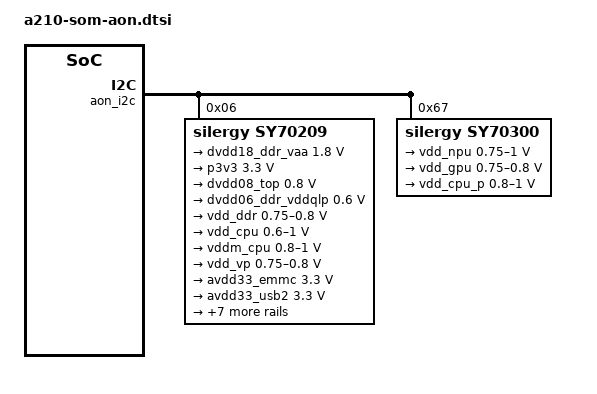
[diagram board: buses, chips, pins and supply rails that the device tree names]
/* SPDX-License-Identifier: Apache-2.0 */
#include <zephyr/dt-bindings/regulator/sy70209.h>
/ {
	zephyr,user {
		performance-domains = <&cpu_c908 &cpu_c920>;
		read-only-voltage-domains = <&vdd_cpu &vddm_cpu &vdd_cpu_p>;
		/* Preserve IDs 0..6; append the fixed peripheral and DDR I/O rails. */
		voltage-domains = <&vdd_cpu &vddm_cpu &vdd_cpu_p
			&vdd_ddr &vdd_vp &vdd_npu &vdd_gpu
			&avdd33_emmc &avdd33_usb2 &dvdd08_aon
			&avdd18_aon &avdd18_emmc_usb2 &avdd18_emmc_peri
			&avdd18_top &avdd18_pll &avdd18
			&dvdd18_ddr_vaa &p3v3 &dvdd08_top
			&dvdd06_ddr_vddqlp>;
	};

	c908_opps: c908-opps {
		compatible = "operating-points-v2";
		opp-shared;

		opp-500000000 {
			opp-hz = <0 500000000>;
			opp-microvolt = <700000 800000>;
		};

		opp-1200000000 {
			opp-hz = <0 1200000000>;
			opp-microvolt = <700000 800000>;
		};

		opp-1500000000 {
			opp-hz = <0 1500000000>;
			opp-microvolt = <800000 800000>;
		};

		opp-1698000000 {
			opp-hz = <0 1698000000>;
			opp-microvolt = <900000 900000>;
		};

		opp-1896000000 {
			opp-hz = <0 1896000000>;
			opp-microvolt = <1000000 1000000>;
		};
	};

	c920_opps: c920-opps {
		compatible = "operating-points-v2";
		opp-shared;

		opp-500000000 {
			opp-hz = <0 500000000>;
			opp-microvolt = <800000>;
		};

		opp-1698000000 {
			opp-hz = <0 1698000000>;
			opp-microvolt = <900000>;
		};

		opp-1896000000 {
			opp-hz = <0 1896000000>;
			opp-microvolt = <1000000>;
		};
	};
};

&aon_i2c {
	status = "okay";
	sy70209: pmic@6 {
		compatible = "silergy,sy70209";
		reg = <0x06>;
		timeout-counter = <&aon_timebase>;
		sy70209_gpio: gpio {
			compatible = "silergy,sy70209-gpio";
			gpio-controller;
			#gpio-cells = <2>;
		};
		regulators {
			#address-cells = <1>;
			#size-cells = <0>;

			dvdd18_ddr_vaa: regulator@1 {
				compatible = "silergy,sy70209-regulator";
				reg = <SY70209_BUCK(1)>;
				regulator-name = "dvdd18_ddr_vaa";
				regulator-min-microvolt = <1800000>;
				regulator-max-microvolt = <1800000>;
				regulator-ramp-delay = <100>;
				settling-time-us = <2000>;
				regulator-always-on;
			};

			p3v3: regulator@2 {
				compatible = "silergy,sy70209-regulator";
				reg = <SY70209_BUCK(2)>;
				regulator-name = "p3v3";
				regulator-min-microvolt = <3300000>;
				regulator-max-microvolt = <3300000>;
				regulator-ramp-delay = <100>;
				settling-time-us = <2000>;
				regulator-always-on;
			};

			dvdd08_top: regulator@3 {
				compatible = "silergy,sy70209-regulator";
				reg = <SY70209_BUCK(3)>;
				regulator-name = "dvdd08_top";
				regulator-min-microvolt = <800000>;
				regulator-max-microvolt = <800000>;
				regulator-ramp-delay = <100>;
				settling-time-us = <2000>;
				regulator-always-on;
			};

			dvdd06_ddr_vddqlp: regulator@4 {
				compatible = "silergy,sy70209-regulator";
				reg = <SY70209_BUCK(4)>;
				regulator-name = "ddr_vddqlp";
				regulator-min-microvolt = <600000>;
				regulator-max-microvolt = <600000>;
				regulator-ramp-delay = <100>;
				settling-time-us = <2000>;
				regulator-always-on;
			};

			vdd_ddr: regulator@5 {
				compatible = "silergy,sy70209-regulator";
				reg = <5>;
				regulator-name = "dvdd08_ddr";
				regulator-min-microvolt = <750000>;
				regulator-max-microvolt = <800000>;
				regulator-ramp-delay = <100>;
				settling-time-us = <2000>;
				regulator-always-on;
			};

			vdd_cpu: regulator@6 {
				compatible = "silergy,sy70209-regulator";
				reg = <6>;
				regulator-name = "dvdd_cpu";
				regulator-min-microvolt = <600000>;
				regulator-max-microvolt = <1000000>;
				regulator-ramp-delay = <100>;
				settling-time-us = <2000>;
				regulator-always-on;
			};

			vddm_cpu: regulator@7 {
				compatible = "silergy,sy70209-regulator";
				reg = <7>;
				regulator-name = "dvddm_cpu";
				regulator-min-microvolt = <800000>;
				regulator-max-microvolt = <1000000>;
				regulator-ramp-delay = <100>;
				settling-time-us = <2000>;
				regulator-always-on;
			};

			vdd_vp: regulator@8 {
				compatible = "silergy,sy70209-regulator";
				reg = <8>;
				regulator-name = "dvdd_vp";
				regulator-min-microvolt = <750000>;
				regulator-max-microvolt = <800000>;
				regulator-ramp-delay = <100>;
				settling-time-us = <2000>;
			};

			avdd33_emmc: regulator@11 {
				compatible = "silergy,sy70209-regulator";
				reg = <SY70209_LDO(1)>;
				regulator-name = "avdd33_emmc";
				regulator-min-microvolt = <3300000>;
				regulator-max-microvolt = <3300000>;
				regulator-ramp-delay = <100>;
				settling-time-us = <2000>;
				regulator-always-on;
			};

			avdd33_usb2: regulator@12 {
				compatible = "silergy,sy70209-regulator";
				reg = <SY70209_LDO(2)>;
				regulator-name = "avdd33_usb2";
				regulator-min-microvolt = <3300000>;
				regulator-max-microvolt = <3300000>;
				regulator-ramp-delay = <100>;
				settling-time-us = <2000>;
				regulator-always-on;
			};

			dvdd08_aon: regulator@13 {
				compatible = "silergy,sy70209-regulator";
				reg = <SY70209_LDO(3)>;
				regulator-name = "dvdd08_aon";
				regulator-min-microvolt = <800000>;
				regulator-max-microvolt = <800000>;
				regulator-ramp-delay = <100>;
				settling-time-us = <2000>;
				regulator-always-on;
			};

			avdd18_aon: regulator@14 {
				compatible = "silergy,sy70209-regulator";
				reg = <SY70209_LDO(4)>;
				regulator-name = "avdd18_aon";
				regulator-min-microvolt = <1800000>;
				regulator-max-microvolt = <1800000>;
				regulator-ramp-delay = <100>;
				settling-time-us = <2000>;
				regulator-always-on;
			};

			avdd18_emmc_usb2: regulator@15 {
				compatible = "silergy,sy70209-regulator";
				reg = <SY70209_LDO(5)>;
				regulator-name = "avdd18_emmcusb";
				regulator-min-microvolt = <1800000>;
				regulator-max-microvolt = <1800000>;
				regulator-ramp-delay = <100>;
				settling-time-us = <2000>;
				regulator-always-on;
			};

			avdd18_emmc_peri: regulator@17 {
				compatible = "silergy,sy70209-regulator";
				reg = <SY70209_LDO(7)>;
				regulator-name = "avdd18_peri";
				regulator-min-microvolt = <1800000>;
				regulator-max-microvolt = <1800000>;
				regulator-ramp-delay = <100>;
				settling-time-us = <2000>;
				regulator-always-on;
			};

			avdd18_top: regulator@18 {
				compatible = "silergy,sy70209-regulator";
				reg = <SY70209_LDO(8)>;
				regulator-name = "avdd18_top";
				regulator-min-microvolt = <1800000>;
				regulator-max-microvolt = <1800000>;
				regulator-ramp-delay = <100>;
				settling-time-us = <2000>;
				regulator-always-on;
			};

			avdd18_pll: regulator@19 {
				compatible = "silergy,sy70209-regulator";
				reg = <SY70209_LDO(9)>;
				regulator-name = "avdd18_pll";
				regulator-min-microvolt = <1800000>;
				regulator-max-microvolt = <1800000>;
				regulator-ramp-delay = <100>;
				settling-time-us = <2000>;
				regulator-always-on;
			};

			avdd18: regulator@1a {
				compatible = "silergy,sy70209-regulator";
				reg = <SY70209_LDO(10)>;
				regulator-name = "avdd18";
				regulator-min-microvolt = <1800000>;
				regulator-max-microvolt = <1800000>;
				regulator-ramp-delay = <100>;
				settling-time-us = <2000>;
				regulator-always-on;
			};
		};
	};
	sy70300: pmic@67 {
		compatible = "silergy,sy70300";
		reg = <0x67>;
		timeout-counter = <&aon_timebase>;
		regulators {
			#address-cells = <1>;
			#size-cells = <0>;

			vdd_npu: regulator@1 {
				compatible = "silergy,sy70300-regulator";
				reg = <1>;
				regulator-name = "dvdd_npu_vip";
				regulator-min-microvolt = <750000>;
				regulator-max-microvolt = <1000000>;
				regulator-ramp-delay = <100>;
				settling-time-us = <2000>;
				enable-gpios = <&sy70209_gpio 2 GPIO_ACTIVE_HIGH>;
			};

			vdd_gpu: regulator@3 {
				compatible = "silergy,sy70300-regulator";
				reg = <3>;
				regulator-name = "dvdd_gpu";
				regulator-min-microvolt = <750000>;
				regulator-max-microvolt = <800000>;
				regulator-ramp-delay = <100>;
				settling-time-us = <2000>;
				enable-gpios = <&sy70209_gpio 2 GPIO_ACTIVE_HIGH>;
			};
			vdd_cpu_p: regulator@2 {
				compatible = "silergy,sy70300-regulator";
				reg = <2>;
				regulator-name = "dvdd_cpu_p";
				regulator-min-microvolt = <800000>;
				regulator-max-microvolt = <1000000>;
				regulator-ramp-delay = <100>;
				settling-time-us = <2000>;
				regulator-always-on;
				/* SY70209 GPIO2 gates the whole secondary PMIC. */
				enable-gpios = <&sy70209_gpio 2 GPIO_ACTIVE_HIGH>;
			};
		};
	};

};

&cpu_c908 {
	cpu-sram-supply = <&vddm_cpu>;
	cpu-supply = <&vdd_cpu>;
	operating-points-v2 = <&c908_opps>;
	sustained-frequency-khz = <1896000>;
	transition-latency-us = <10000>;

	status = "okay";
};

&cpu_c920 {
	cpu-supply = <&vdd_cpu_p>;
	operating-points-v2 = <&c920_opps>;
	sustained-frequency-khz = <1896000>;
	transition-latency-us = <10000>;

	status = "okay";
};
